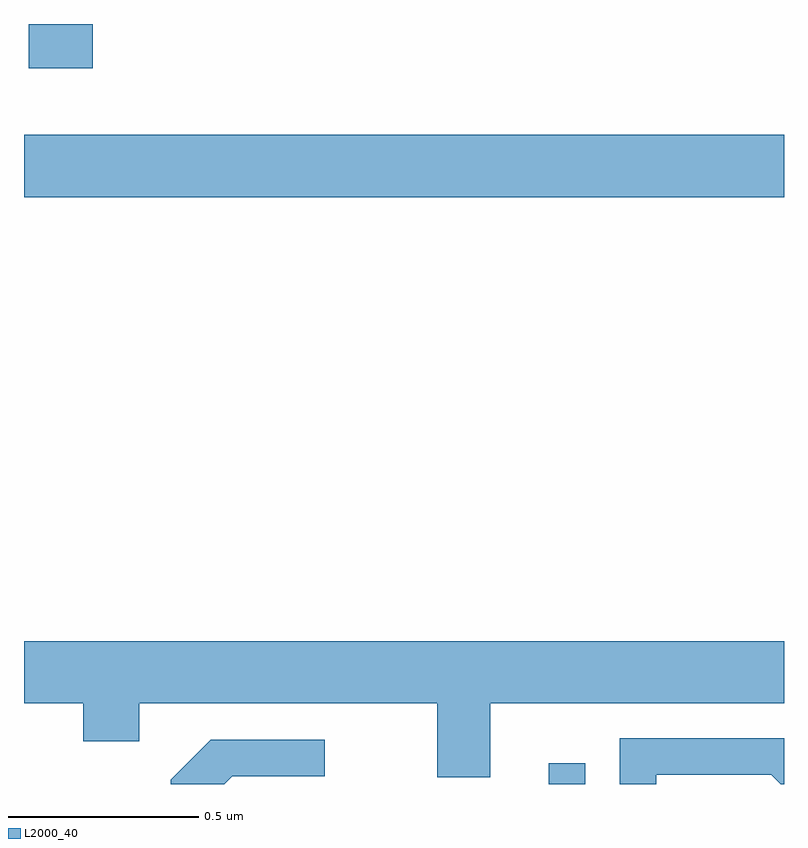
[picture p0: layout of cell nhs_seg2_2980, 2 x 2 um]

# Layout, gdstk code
import gdstk
lib = gdstk.Library(unit=1e-6, precision=1e-09)
def R(c, l, rs):  # rectangles x0, y0, x1, y1
    for r in rs: c.add(gdstk.rectangle(r[:2], r[2:], *l))
def P(c, l, *ps):  # polygons
    for p in ps: c.add(gdstk.Polygon(p, *l))
L2000_40 = (2000, 40)

nhs_seg2_2980 = lib.new_cell('nhs_seg2_2980')
R(nhs_seg2_2980, L2000_40, [(149.381,604.8,149.477,604.855), (148,606.344,150,606.508), (148.013,606.684,148.181,606.8)])
P(nhs_seg2_2980, L2000_40, [(149.227,605.012),(150,605.012),(150,605.176),(148,605.176),(148,605.012),(148.156,605.012),(148.156,604.913),(148.303,604.913),(148.303,605.012),(149.087,605.012),(149.087,604.818),(149.227,604.818)],
  [(149.664,604.824),(149.967,604.824),(149.991,604.8),(150,604.8),(150,604.92),(149.568,604.92),(149.568,604.8),(149.664,604.8)],
  [(148.548,604.821),(148.792,604.821),(148.792,604.917),(148.491,604.917),(148.386,604.811),(148.386,604.8),(148.527,604.8)])

lib.write_gds('nhs_seg2_2980.gds')
